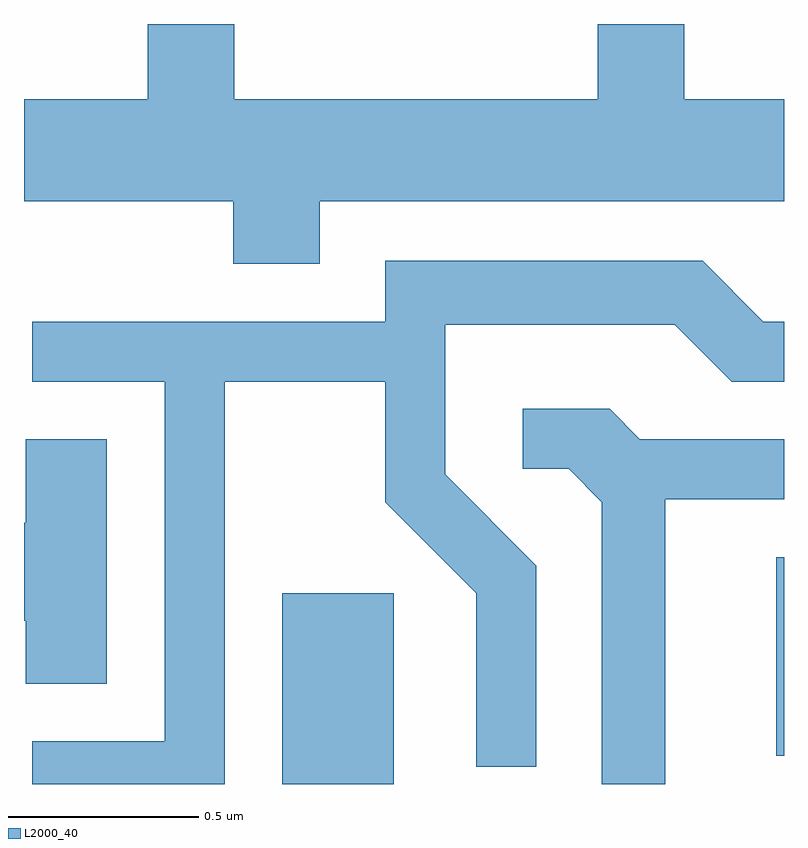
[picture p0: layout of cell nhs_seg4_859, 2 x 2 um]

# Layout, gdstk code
import gdstk
lib = gdstk.Library(unit=1e-6, precision=1e-09)
def R(c, l, rs):  # rectangles x0, y0, x1, y1
    for r in rs: c.add(gdstk.rectangle(r[:2], r[2:], *l))
def P(c, l, *ps):  # polygons
    for p in ps: c.add(gdstk.Polygon(p, *l))
L2000_40 = (2000, 40)

nhs_seg4_859 = lib.new_cell('nhs_seg4_859')
R(nhs_seg4_859, L2000_40, [(192.291,1290.982,192.584,1291.484), (193.591,1291.056,193.611,1291.579)])
P(nhs_seg4_859, L2000_40, [(192.389,1292.516),(193.611,1292.516),(193.611,1292.784),(193.349,1292.784),(193.349,1292.982),(193.121,1292.982),(193.121,1292.784),(192.164,1292.784),(192.164,1292.982),(191.936,1292.982),(191.936,1292.784),(191.611,1292.784),(191.611,1292.516),(192.161,1292.516),(192.161,1292.351),(192.389,1292.351)],
  [(192.139,1292.041),(192.561,1292.041),(192.561,1291.724),(192.801,1291.484),(192.801,1291.028),(192.959,1291.028),(192.959,1291.557),(192.719,1291.797),(192.719,1292.191),(193.324,1292.191),(193.474,1292.041),(193.611,1292.041),(193.611,1292.199),(193.557,1292.199),(193.397,1292.359),(192.561,1292.359),(192.561,1292.199),(191.633,1292.199),(191.633,1292.041),(191.981,1292.041),(191.981,1291.094),(191.633,1291.094),(191.633,1290.982),(192.139,1290.982)],
  [(193.299,1291.731),(193.611,1291.731),(193.611,1291.889),(193.232,1291.889),(193.152,1291.969),(192.923,1291.969),(192.923,1291.811),(193.044,1291.811),(193.131,1291.724),(193.131,1290.982),(193.299,1290.982)],
  [(191.829,1291.889),(191.616,1291.889),(191.616,1291.669),(191.611,1291.669),(191.611,1291.411),(191.616,1291.411),(191.616,1291.246),(191.829,1291.246)])

lib.write_gds('nhs_seg4_859.gds')
